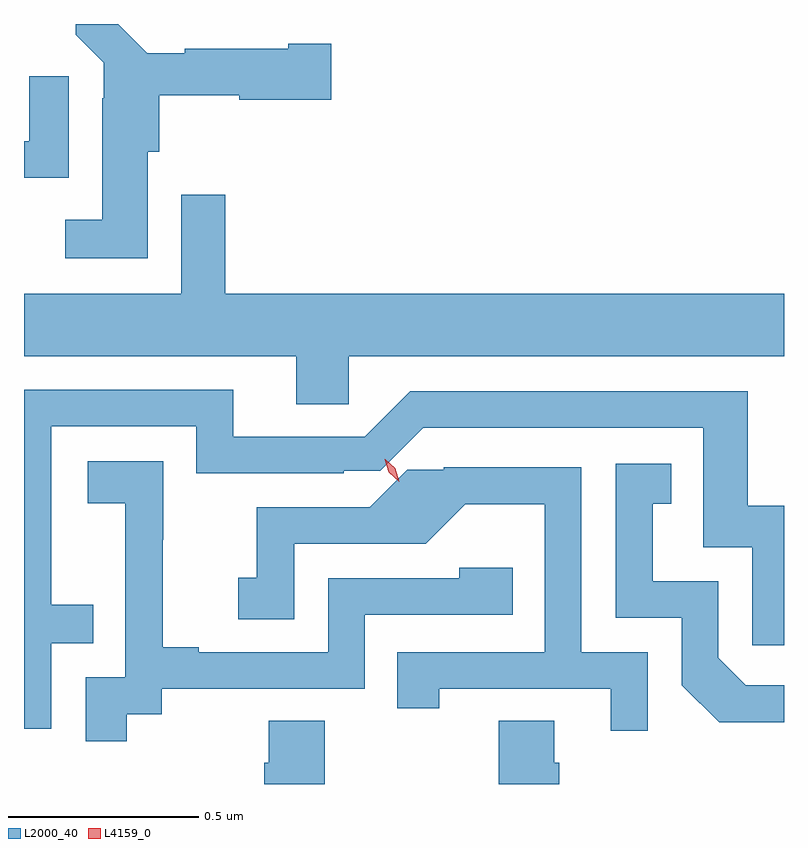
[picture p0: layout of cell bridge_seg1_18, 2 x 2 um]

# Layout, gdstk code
import gdstk
lib = gdstk.Library(unit=1e-6, precision=1e-09)
def P(c, l, *ps):  # polygons
    for p in ps: c.add(gdstk.Polygon(p, *l))
L2000_40 = (2000, 40)
L4159_0 = (4159, 0)

bridge_seg1_18 = lib.new_cell('bridge_seg1_18')
P(bridge_seg1_18, L2000_40, [(880.534,513.642),(880.565,513.642),(880.565,513.791),(880.776,513.791),(880.776,513.779),(881.017,513.779),(881.017,513.926),(880.904,513.926),(880.904,513.913),(880.632,513.913),(880.632,513.901),(880.533,513.901),(880.457,513.978),(880.345,513.978),(880.345,513.95),(880.419,513.876),(880.419,513.782),(880.415,513.782),(880.415,513.463),(880.317,513.463),(880.317,513.362),(880.534,513.362)],
  [(880.327,513.841),(880.223,513.841),(880.223,513.669),(880.209,513.669),(880.209,513.573),(880.327,513.573)],
  [(881.064,513.104),(882.209,513.104),(882.209,513.268),(880.739,513.268),(880.739,513.529),(880.623,513.529),(880.623,513.268),(880.209,513.268),(880.209,513.104),(880.925,513.104),(880.925,512.977),(881.064,512.977)],
  [(880.281,512.349),(880.391,512.349),(880.391,512.45),(880.281,512.45),(880.281,512.919),(880.662,512.919),(880.662,512.796),(881.051,512.796),(881.051,512.802),(881.146,512.802),(881.26,512.916),(881.997,512.916),(881.997,512.601),(882.126,512.601),(882.126,512.343),(882.209,512.343),(882.209,512.71),(882.113,512.71),(882.113,513.012),(881.226,513.012),(881.106,512.892),(880.759,512.892),(880.759,513.015),(880.209,513.015),(880.209,512.124),(880.281,512.124)],
  [(880.48,512.161),(880.572,512.161),(880.572,512.229),(881.106,512.229),(881.106,512.424),(881.495,512.424),(881.495,512.547),(881.355,512.547),(881.355,512.52),(881.01,512.52),(881.01,512.325),(880.669,512.325),(880.669,512.338),(880.574,512.338),(880.574,512.621),(880.575,512.621),(880.575,512.827),(880.377,512.827),(880.377,512.717),(880.475,512.717),(880.475,512.489),(880.476,512.489),(880.476,512.259),(880.371,512.259),(880.371,512.091),(880.48,512.091)],
  [(882.209,512.238),(882.108,512.238),(882.036,512.31),(882.036,512.511),(881.863,512.511),(881.863,512.715),(881.912,512.715),(881.912,512.821),(881.766,512.821),(881.766,512.415),(881.94,512.415),(881.94,512.238),(882.038,512.141),(882.209,512.141)],
  [(881.85,512.325),(881.676,512.325),(881.676,512.811),(881.313,512.811),(881.313,512.805),(881.218,512.805),(881.119,512.706),(880.822,512.706),(880.822,512.521),(880.773,512.521),(880.773,512.412),(880.92,512.412),(880.92,512.61),(881.266,512.61),(881.37,512.714),(881.58,512.714),(881.58,512.325),(881.191,512.325),(881.191,512.178),(881.302,512.178),(881.302,512.229),(881.753,512.229),(881.753,512.118),(881.85,512.118)],
  [(881.001,512.144),(880.853,512.144),(880.853,512.034),(880.841,512.034),(880.841,511.978),(881.001,511.978)],
  [(881.618,512.034),(881.605,512.034),(881.605,512.144),(881.458,512.144),(881.458,511.978),(881.618,511.978)])
P(bridge_seg1_18, L4159_0, [(881.196,512.774),(881.169,512.798),(881.158,512.833),(881.158,512.833),(881.159,512.833),(881.186,512.809),(881.197,512.774),(881.197,512.774)])

lib.write_gds('bridge_seg1_18.gds')
